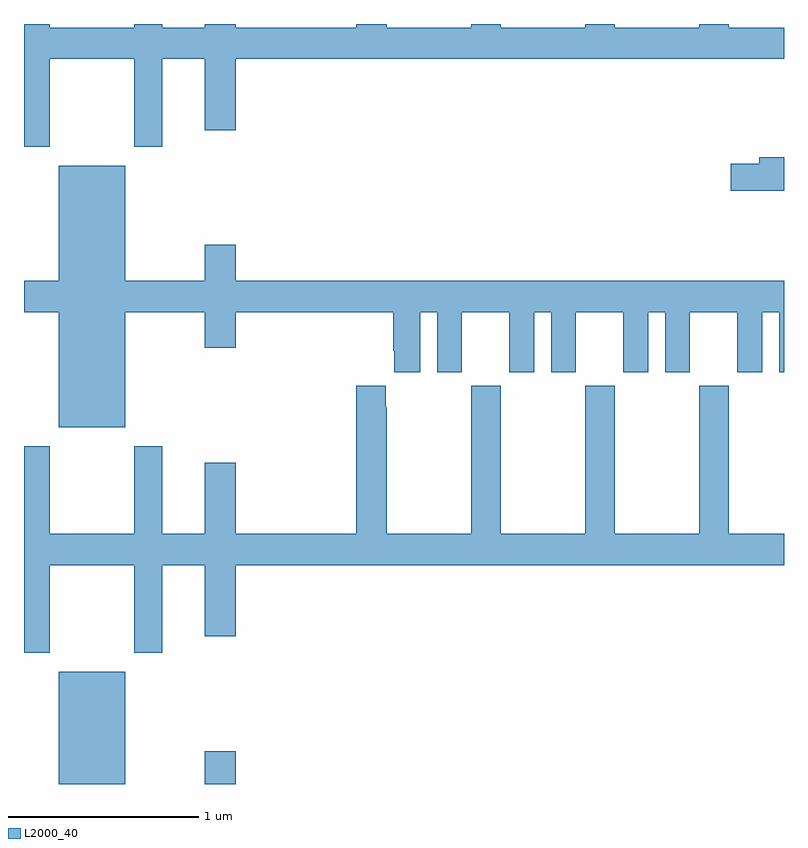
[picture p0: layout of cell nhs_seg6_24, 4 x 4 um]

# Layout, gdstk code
import gdstk
lib = gdstk.Library(unit=1e-6, precision=1e-09)
def R(c, l, rs):  # rectangles x0, y0, x1, y1
    for r in rs: c.add(gdstk.rectangle(r[:2], r[2:], *l))
def P(c, l, *ps):  # polygons
    for p in ps: c.add(gdstk.Polygon(p, *l))
L2000_40 = (2000, 40)

nhs_seg6_24 = lib.new_cell('nhs_seg6_24')
R(nhs_seg6_24, L2000_40, [(111.182,963.5,111.532,964.09), (111.95,963.5,112.114,963.673)])
P(nhs_seg6_24, L2000_40, [(111.135,967.316),(111.58,967.316),(111.58,966.855),(111.727,966.855),(111.727,967.316),(111.95,967.316),(111.95,966.942),(112.114,966.942),(112.114,967.316),(115,967.316),(115,967.48),(114.708,967.48),(114.708,967.5),(114.553,967.5),(114.553,967.48),(114.108,967.48),(114.108,967.5),(113.953,967.5),(113.953,967.48),(113.508,967.48),(113.508,967.5),(113.353,967.5),(113.353,967.48),(112.908,967.48),(112.908,967.5),(112.748,967.5),(112.748,967.48),(112.114,967.48),(112.114,967.5),(111.95,967.5),(111.95,967.48),(111.727,967.48),(111.727,967.5),(111.58,967.5),(111.58,967.48),(111.135,967.48),(111.135,967.5),(111,967.5),(111,966.855),(111.135,966.855)],
  [(115,966.8),(114.869,966.8),(114.869,966.764),(114.72,966.764),(114.72,966.622),(115,966.622)],
  [(111.532,965.984),(111.95,965.984),(111.95,965.796),(112.114,965.796),(112.114,965.984),(112.943,965.984),(112.943,965.779),(112.949,965.779),(112.949,965.667),(113.086,965.667),(113.086,965.984),(113.174,965.984),(113.174,965.667),(113.305,965.667),(113.305,965.984),(113.555,965.984),(113.555,965.667),(113.686,965.667),(113.686,965.984),(113.774,965.984),(113.774,965.667),(113.905,965.667),(113.905,965.984),(114.155,965.984),(114.155,965.667),(114.286,965.667),(114.286,965.984),(114.374,965.984),(114.374,965.667),(114.505,965.667),(114.505,965.984),(114.755,965.984),(114.755,965.667),(114.886,965.667),(114.886,965.984),(114.974,965.984),(114.974,965.667),(115,965.667),(115,966.148),(112.114,966.148),(112.114,966.337),(111.95,966.337),(111.95,966.148),(111.532,966.148),(111.532,966.754),(111.182,966.754),(111.182,966.148),(111,966.148),(111,965.984),(111.182,965.984),(111.182,965.378),(111.532,965.378)],
  [(111.135,964.652),(111.58,964.652),(111.58,964.191),(111.727,964.191),(111.727,964.652),(111.95,964.652),(111.95,964.278),(112.114,964.278),(112.114,964.652),(115,964.652),(115,964.816),(114.708,964.816),(114.708,965.596),(114.553,965.596),(114.553,964.816),(114.108,964.816),(114.108,965.596),(113.953,965.596),(113.953,964.816),(113.508,964.816),(113.508,965.596),(113.353,965.596),(113.353,964.816),(112.908,964.816),(112.908,965.483),(112.903,965.483),(112.903,965.596),(112.748,965.596),(112.748,964.816),(112.114,964.816),(112.114,965.191),(111.95,965.191),(111.95,964.816),(111.727,964.816),(111.727,965.278),(111.58,965.278),(111.58,964.816),(111.135,964.816),(111.135,965.278),(111,965.278),(111,964.191),(111.135,964.191)])

lib.write_gds('nhs_seg6_24.gds')
